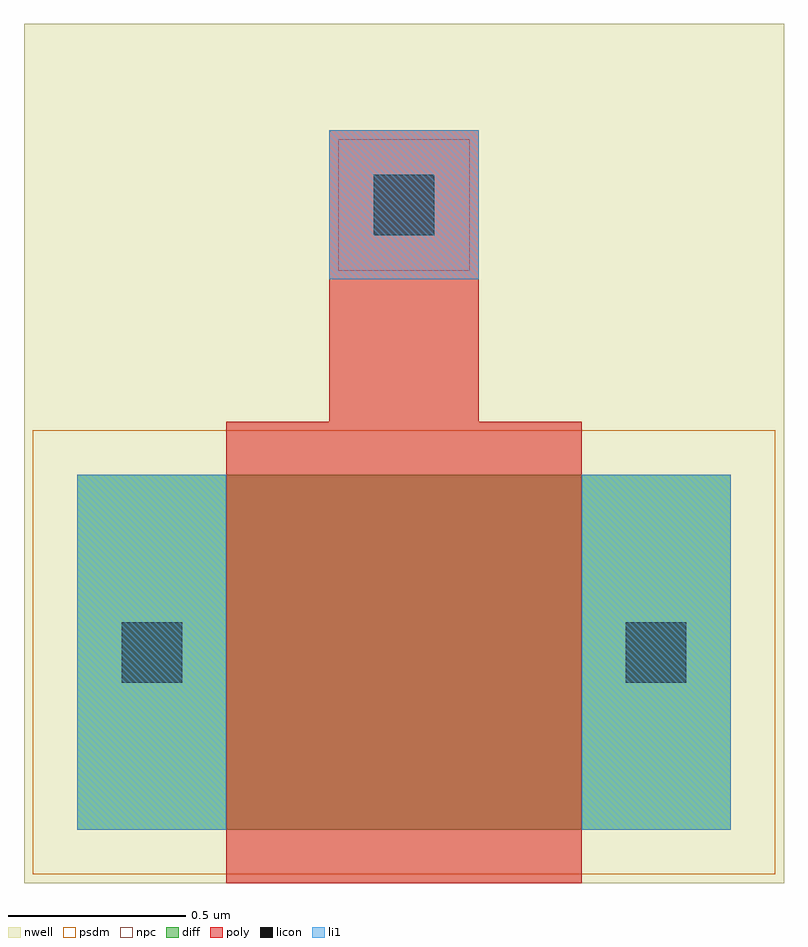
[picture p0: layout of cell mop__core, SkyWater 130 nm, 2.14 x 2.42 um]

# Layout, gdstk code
import gdstk
lib = gdstk.Library(unit=1e-6, precision=1e-09)
def R(c, l, rs):  # rectangles x0, y0, x1, y1
    for r in rs: c.add(gdstk.rectangle(r[:2], r[2:], *l))
nwell = (64, 20)
diff = (65, 20)
poly = (66, 20)
licon = (66, 44)
li1 = (67, 20)
psdm = (94, 20)
npc = (95, 20)

mop__core = lib.new_cell('mop__core')
R(mop__core, nwell, [(-0.15,-0.15,1.99,2.27)])
R(mop__core, diff, [(0,0,1.84,1)])
R(mop__core, poly, [(0.42,-0.15,1.42,1), (0.42,1,1.42,1.15), (0.42,1,1.42,1.15), (0.71,1.15,1.13,1.97)])
R(mop__core, licon, [(0.125,0.415,0.295,0.585), (1.545,0.415,1.715,0.585), (0.835,1.675,1.005,1.845)])
R(mop__core, li1, [(0,0,0.42,1), (1.42,0,1.84,1), (0.71,1.55,1.13,1.97)])
R(mop__core, psdm, [(-0.125,-0.125,1.965,1.125)])
R(mop__core, npc, [(0.735,1.575,1.105,1.945)])

lib.write_gds('mop__core.gds')
